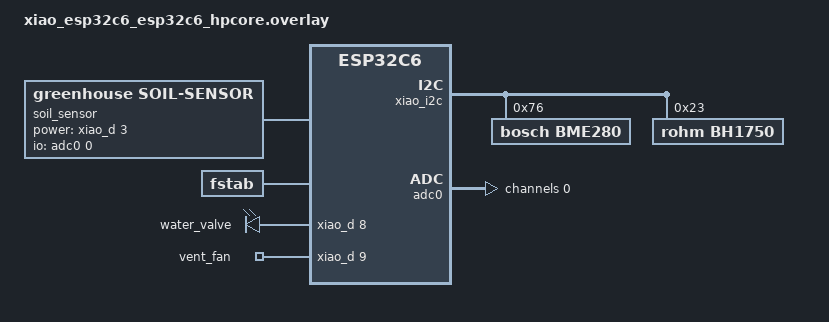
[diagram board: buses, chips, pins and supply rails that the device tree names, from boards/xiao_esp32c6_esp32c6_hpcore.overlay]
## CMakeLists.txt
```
cmake_minimum_required(VERSION 3.20.0)

find_package(Zephyr REQUIRED HINTS $ENV{ZEPHYR_BASE})
project(greenhouse)

target_sources(app PRIVATE
	src/main.c
	src/app_device.c
	src/app_led.c
	src/app_watchdog.c
	src/app_sensor.c
	src/app_control.c
	src/control_logic.c
	src/app_actuator.c
	src/app_backend.c
)

if(CONFIG_APP_SENSOR_SIMULATE)
	target_sources(app PRIVATE src/app_sensor_sim.c)
else()
	target_sources(app PRIVATE src/app_sensor_hw.c)
endif()

target_sources_ifdef(CONFIG_SHELL app PRIVATE src/app_shell.c)
target_sources_ifdef(CONFIG_WIFI app PRIVATE src/app_wifi.c)
if(NOT CONFIG_WIFI)
	target_sources(app PRIVATE src/app_eth.c)
endif()

target_sources_ifdef(CONFIG_BOOTLOADER_MCUBOOT app PRIVATE src/app_update.c)
```

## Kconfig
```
mainmenu "Greenhouse controller"

menu "Greenhouse"

config APP_DEVICE_ID
	string "Default device ID"
	default "0001"

config APP_SENSOR_SIMULATE
	bool "Simulated sensors"

config APP_ACTUATOR_SIMULATE
	bool "Simulated actuators"
	help
	  Actuators only log their state.

config APP_SENSOR_SAMPLE_INTERVAL_S
	int "Sensor sample interval in seconds"
	default 60

config APP_SENSOR_SIM_DAY_S
	int "Length of a simulated day in seconds"
	depends on APP_SENSOR_SIMULATE
	default 600

config APP_SOIL_DRY_MV
	int "Soil sensor output in dry soil (mV)"
	default 2600

config APP_SOIL_WET_MV
	int "Soil sensor output in water (mV)"
	default 1200

config APP_CTRL_VENT_ON_TEMP_DC
	int "Ventilation on above this temperature (0.1 C)"
	default 300

config APP_CTRL_VENT_OFF_TEMP_DC
	int "Ventilation off below this temperature (0.1 C)"
	default 260

config APP_CTRL_VENT_ON_HUM_DPCT
	int "Ventilation on above this air humidity (0.1 %)"
	default 850

config APP_CTRL_VENT_OFF_HUM_DPCT
	int "Ventilation off below this air humidity (0.1 %)"
	default 700

config APP_CTRL_WATER_ON_SOIL_DPCT
	int "Watering on below this soil moisture (0.1 %)"
	default 350

config APP_CTRL_WATER_OFF_SOIL_DPCT
	int "Watering off above this soil moisture (0.1 %)"
	default 550

config APP_CTRL_WATER_MAX_LIGHT_LUX
	int "No new watering above this light level (lux)"
	default 30000

config APP_CTRL_WATER_MAX_RUN_S
	int "Longest watering run in seconds"
	default 120

config APP_CTRL_WATER_MIN_PAUSE_S
	int "Shortest pause between watering runs in seconds"
	default 600

config APP_BACKEND_HOST
	string "InfluxDB host"
	default ""

config APP_BACKEND_PORT
	int "InfluxDB port"
	default 8086

config APP_BACKEND_ORG
	string "InfluxDB organisation"
	default "greenhouse"

config APP_BACKEND_BUCKET
	string "InfluxDB bucket"
	default "greenhouse"

config APP_BACKEND_DEV_TOKEN
	string "Default InfluxDB token, for the local test stack only"
	default ""

config APP_BACKEND_UPLOAD_INTERVAL_S
	int "Upload interval in seconds, 0 uploads every point"
	default 0

config APP_BACKEND_QUEUE_SIZE
	int "Points kept while the network is down"
	default 64

config APP_BACKEND_NTP_SERVER
	string "NTP server"
	default "pool.ntp.org"

config APP_WATCHDOG_STALE_S
	int "A thread is hung after this many seconds without a heartbeat"
	default 120

config APP_LED
	bool "Status LED"
	default y

config APP_UPDATE_CONFIRM_S
	int "Seconds of good health before confirming a new image"
	default 120

module = APP_MAIN
module-str = main
source "subsys/logging/Kconfig.template.log_config"
module = APP_SENSOR
module-str = sensor
source "subsys/logging/Kconfig.template.log_config"
module = APP_CONTROL
module-str = control
source "subsys/logging/Kconfig.template.log_config"
module = APP_ACTUATOR
module-str = actuator
source "subsys/logging/Kconfig.template.log_config"
module = APP_BACKEND
module-str = backend
source "subsys/logging/Kconfig.template.log_config"
module = APP_NET
module-str = network
source "subsys/logging/Kconfig.template.log_config"
module = APP_WATCHDOG
module-str = watchdog
source "subsys/logging/Kconfig.template.log_config"
module = APP_UPDATE
module-str = update
source "subsys/logging/Kconfig.template.log_config"

endmenu

source "Kconfig.zephyr"
```

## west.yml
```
manifest:
  remotes:
    - name: zephyrproject-rtos
      url-base: https://github.com/zephyrproject-rtos
  projects:
    - name: zephyr
      remote: zephyrproject-rtos
      revision: v4.4.2
      import:
        name-allowlist:
          - cmsis
          - cmsis_6
          - hal_espressif
          - littlefs
          - mbedtls
          - mcuboot
          - zcbor
```

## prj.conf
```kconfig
CONFIG_ZBUS=y
CONFIG_ZBUS_MSG_SUBSCRIBER=y
CONFIG_SHELL=y
CONFIG_GPIO=y
CONFIG_REBOOT=y
CONFIG_WATCHDOG=y
CONFIG_HWINFO=y
CONFIG_SETTINGS=y

CONFIG_LOG=y
CONFIG_LOG_MODE_DEFERRED=y
CONFIG_LOG_RUNTIME_FILTERING=y
CONFIG_LOG_CMDS=y

CONFIG_NETWORKING=y
CONFIG_NET_IPV4=y
CONFIG_NET_IPV6=n
CONFIG_NET_TCP=y
CONFIG_NET_UDP=y
CONFIG_NET_SOCKETS=y
CONFIG_NET_DHCPV4=y
CONFIG_NET_MGMT=y
CONFIG_NET_MGMT_EVENT=y
CONFIG_NET_LOG=y
CONFIG_DNS_RESOLVER=y
CONFIG_HTTP_CLIENT=y
CONFIG_SNTP=y
CONFIG_POSIX_API=y

CONFIG_MAIN_STACK_SIZE=2048
CONFIG_SYSTEM_WORKQUEUE_STACK_SIZE=2048
CONFIG_HEAP_MEM_POOL_SIZE=8192
```

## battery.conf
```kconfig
CONFIG_PM=y
CONFIG_PM_DEVICE=y

CONFIG_APP_SENSOR_SAMPLE_INTERVAL_S=300
CONFIG_APP_BACKEND_UPLOAD_INTERVAL_S=1800
CONFIG_LOG_PROCESS_THREAD_SLEEP_MS=30000
CONFIG_APP_LED=n

# provision with the normal build first
CONFIG_SHELL=n
CONFIG_LOG_CMDS=n
CONFIG_NET_L2_WIFI_SHELL=n
CONFIG_WIFI_CREDENTIALS_SHELL=n
CONFIG_FILE_SYSTEM_SHELL=n
CONFIG_DEBUG_COREDUMP_SHELL=n
CONFIG_CONSOLE=n
CONFIG_UART_CONSOLE=n
```

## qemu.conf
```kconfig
CONFIG_APP_SENSOR_SIMULATE=y
CONFIG_APP_ACTUATOR_SIMULATE=y
CONFIG_SENSOR=n

CONFIG_SETTINGS_NONE=y

CONFIG_NET_L2_ETHERNET=y
CONFIG_NET_QEMU_USER=y
CONFIG_NET_MAX_CONTEXTS=8

CONFIG_TEST_RANDOM_GENERATOR=y
CONFIG_TIMER_RANDOM_GENERATOR=y
CONFIG_ENTROPY_GENERATOR=n

# the host, seen from QEMU user networking
CONFIG_APP_BACKEND_HOST="10.0.2.2"
CONFIG_APP_BACKEND_DEV_TOKEN="greenhouse-local-dev-token"
CONFIG_APP_SENSOR_SAMPLE_INTERVAL_S=5
```

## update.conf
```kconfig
CONFIG_MCUMGR=y
CONFIG_MCUMGR_GRP_IMG=y
CONFIG_MCUMGR_GRP_OS=y
CONFIG_MCUMGR_TRANSPORT_UDP=y
CONFIG_MCUMGR_TRANSPORT_UDP_IPV4=y
CONFIG_ZCBOR=y
CONFIG_CRC=y
CONFIG_STREAM_FLASH=y
CONFIG_IMG_MANAGER=y
CONFIG_FLASH_MAP=y
CONFIG_NET_BUF=y
```

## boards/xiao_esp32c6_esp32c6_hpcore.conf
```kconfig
CONFIG_SENSOR=y
CONFIG_BME280=y
CONFIG_BME280_MODE_FORCED=y
CONFIG_BH1750=y
CONFIG_I2C=y
CONFIG_ADC=y

CONFIG_WIFI=y
CONFIG_NET_L2_WIFI_MGMT=y
CONFIG_NET_L2_WIFI_SHELL=y
CONFIG_WIFI_CREDENTIALS=y
CONFIG_WIFI_CREDENTIALS_BACKEND_SETTINGS=y
CONFIG_WIFI_CREDENTIALS_SHELL=y
CONFIG_FLASH=y
CONFIG_FLASH_MAP=y
CONFIG_NVS=y
CONFIG_SETTINGS_NVS=y

CONFIG_FILE_SYSTEM=y
CONFIG_FILE_SYSTEM_LITTLEFS=y
CONFIG_FILE_SYSTEM_SHELL=y
CONFIG_LOG_BACKEND_FS=y

CONFIG_DEBUG_COREDUMP=y
CONFIG_DEBUG_COREDUMP_BACKEND_FLASH_PARTITION=y
CONFIG_DEBUG_COREDUMP_SHELL=y
```

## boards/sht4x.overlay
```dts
/* Replacement for the BME280: use with -DEXTRA_DTC_OVERLAY_FILE=boards/sht4x.overlay
 * and CONFIG_SHT4X=y. No change to the application.
 */
/delete-node/ &bme280;

/ {
	aliases {
		env-sensor = &sht4x;
	};
};

&xiao_i2c {
	sht4x: sht4x@44 {
		compatible = "sensirion,sht4x";
		reg = <0x44>;
		repeatability = <2>;
	};
};
```

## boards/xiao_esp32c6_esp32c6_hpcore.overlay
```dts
/delete-node/ &storage_partition;

/ {
	aliases {
		env-sensor = &bme280;
		light-sensor = &bh1750;
		soil-sensor = &soil_sensor;
		water-valve = &water_valve;
		vent-fan = &vent_fan;
	};

	soil_sensor: soil-sensor {
		compatible = "greenhouse,soil-sensor";
		io-channels = <&adc0 0>;
		power-gpios = <&xiao_d 3 GPIO_ACTIVE_HIGH>;
	};

	fstab {
		compatible = "zephyr,fstab";

		logs: logs {
			compatible = "zephyr,fstab,littlefs";
			mount-point = "/lfs1";
			partition = <&logs_partition>;
			automount;
			read-size = <16>;
			prog-size = <16>;
			cache-size = <64>;
			lookahead-size = <32>;
			block-cycles = <512>;
		};
	};

	relays {
		compatible = "gpio-leds";

		water_valve: water-valve {
			gpios = <&xiao_d 8 GPIO_ACTIVE_HIGH>;
		};

		vent_fan: vent-fan {
			gpios = <&xiao_d 9 GPIO_ACTIVE_HIGH>;
		};
	};
};

&xiao_i2c {
	bme280: bme280@76 {
		compatible = "bosch,bme280";
		reg = <0x76>;
	};

	bh1750: bh1750@23 {
		compatible = "rohm,bh1750";
		reg = <0x23>;
	};
};

&adc0 {
	status = "okay";
	#address-cells = <1>;
	#size-cells = <0>;

	/* D0 */
	channel@0 {
		reg = <0>;
		zephyr,gain = "ADC_GAIN_1_4";
		zephyr,reference = "ADC_REF_INTERNAL";
		zephyr,acquisition-time = <ADC_ACQ_TIME_DEFAULT>;
		zephyr,resolution = <12>;
	};
};

&flash0 {
	partitions {
		storage_partition: partition@3b0000 {
			label = "storage";
			reg = <0x3b0000 DT_SIZE_K(64)>;
		};

		logs_partition: partition@3c0000 {
			label = "logs";
			reg = <0x3c0000 DT_SIZE_K(128)>;
		};
	};
};
```

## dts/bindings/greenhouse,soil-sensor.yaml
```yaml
description: Analog capacitive soil moisture sensor with switched power

compatible: "greenhouse,soil-sensor"

properties:
  io-channels:
    type: phandle-array
    required: true
  power-gpios:
    type: phandle-array
    required: true
```

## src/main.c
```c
/*
 * Copyright (c) 2026 Technical University of Liberec
 *
 * SPDX-License-Identifier: Apache-2.0
 */

#include "app_actuator.h"
#include "app_backend.h"
#include "app_control.h"
#include "app_led.h"
#include "app_net.h"
#include "app_sensor.h"
#include "app_status.h"
#include "app_update.h"
#include "app_watchdog.h"

#include <app_version.h>
#include <zephyr/drivers/hwinfo.h>
#include <zephyr/kernel.h>
#include <zephyr/logging/log.h>
#include <zephyr/settings/settings.h>
#include <zephyr/sys/atomic.h>
#include <zephyr/zbus/zbus.h>

LOG_MODULE_REGISTER(app_main, CONFIG_APP_MAIN_LOG_LEVEL);

ZBUS_CHAN_DEFINE(app_status_chan, struct app_status_event, NULL, NULL,
		 ZBUS_OBSERVERS_EMPTY, ZBUS_MSG_INIT(0));

static atomic_t status[APP_MODULE_COUNT];

static const char *const module_names[APP_MODULE_COUNT] = {
	[APP_MODULE_SENSOR] = "sensor",
	[APP_MODULE_CONTROL] = "control",
	[APP_MODULE_ACTUATOR] = "actuator",
	[APP_MODULE_NET] = "network",
	[APP_MODULE_BACKEND] = "backend",
	[APP_MODULE_UPDATE] = "update",
	[APP_MODULE_LED] = "led",
	[APP_MODULE_WATCHDOG] = "watchdog",
};

void app_status_set(enum app_module module, enum app_status_value value)
{
	if (atomic_set(&status[module], value) == value) {
		return;
	}

	struct app_status_event ev = {.module = module, .value = value};

	if (value == APP_STATUS_ERROR) {
		LOG_ERR("%s: %s", module_names[module], app_status_value_name(value));
	} else {
		LOG_INF("%s: %s", module_names[module], app_status_value_name(value));
	}
	zbus_chan_pub(&app_status_chan, &ev, K_MSEC(100));
}

enum app_status_value app_status_get(enum app_module module)
{
	return atomic_get(&status[module]);
}

const char *app_status_module_name(enum app_module module)
{
	return module_names[module];
}

const char *app_status_value_name(enum app_status_value value)
{
	switch (value) {
	case APP_STATUS_OK:
		return "ok";
	case APP_STATUS_ERROR:
		return "error";
	default:
		return "debug";
	}
}

bool app_status_all_ok(void)
{
	for (int i = 0; i < APP_MODULE_COUNT; i++) {
		if (atomic_get(&status[i]) == APP_STATUS_ERROR) {
			return false;
		}
	}
	return true;
}

static void log_boot(void)
{
	uint32_t cause = 0;

	LOG_INF("greenhouse %s", APP_VERSION_STRING);
	if (hwinfo_get_reset_cause(&cause) == 0) {
		LOG_INF("reset cause 0x%x", cause);
		hwinfo_clear_reset_cause();
	}
}

static int init_full(void)
{
	int rc;

	log_boot();

	/* the watchdog comes first, so it catches a hang in any later init */
	rc = app_watchdog_init();
	if (rc == 0) {
		rc = settings_subsys_init();
	}
	if (rc == 0) {
		rc = settings_load();
	}
	if (rc == 0) {
		rc = app_led_init();
	}
	/* actuators before anything that could ask them to move */
	if (rc == 0) {
		rc = app_actuator_init();
	}
	if (rc == 0) {
		rc = app_sensor_init();
	}
	if (rc == 0) {
		rc = app_control_init();
	}
	if (rc == 0) {
		rc = app_net_init();
	}
	if (rc == 0) {
		rc = app_backend_init();
	}
#if defined(CONFIG_BOOTLOADER_MCUBOOT)
	if (rc == 0) {
		rc = app_update_init();
	}
#endif
	return rc;
}

int main(void)
{
	int rc = init_full();

	if (rc != 0) {
		/* no threads started: the watchdog resets us if it is running */
		LOG_ERR("init failed: %d", rc);
		return rc;
	}

	app_watchdog_start();
	app_led_start();
	app_actuator_start();
	app_sensor_start();
	app_control_start();
	app_net_start();
	app_backend_start();
#if defined(CONFIG_BOOTLOADER_MCUBOOT)
	app_update_start();
#endif
	return 0;
}
```

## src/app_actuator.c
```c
/*
 * Copyright (c) 2026 Technical University of Liberec
 *
 * SPDX-License-Identifier: Apache-2.0
 */

#include "app_actuator.h"
#include "app_config.h"
#include "app_control.h"
#include "app_status.h"
#include "app_watchdog.h"

#include <errno.h>
#include <zephyr/drivers/gpio.h>
#include <zephyr/kernel.h>
#include <zephyr/logging/log.h>
#include <zephyr/zbus/zbus.h>

LOG_MODULE_REGISTER(app_actuator, CONFIG_APP_ACTUATOR_LOG_LEVEL);

#define PULSE_MAX_S 30

ZBUS_CHAN_DEFINE(actuator_state_chan, struct actuator_state, NULL, NULL, ZBUS_OBSERVERS_EMPTY,
		 ZBUS_MSG_INIT(0));

ZBUS_SUBSCRIBER_DEFINE(actuator_sub, 4);
ZBUS_CHAN_ADD_OBS(actuator_cmd_chan, actuator_sub, 1);

#if !defined(CONFIG_APP_ACTUATOR_SIMULATE)
static const struct gpio_dt_spec pins[ACTUATOR_COUNT] = {
	[ACTUATOR_VALVE] = GPIO_DT_SPEC_GET(DT_ALIAS(water_valve), gpios),
	[ACTUATOR_FAN] = GPIO_DT_SPEC_GET(DT_ALIAS(vent_fan), gpios),
};
#endif

static bool is_on[ACTUATOR_COUNT];
static int64_t on_since[ACTUATOR_COUNT];
static K_MUTEX_DEFINE(actuator_lock);

const char *app_actuator_name(enum actuator_id id)
{
	return id == ACTUATOR_VALVE ? "valve" : "fan";
}

static int output_set(enum actuator_id id, bool on)
{
#if defined(CONFIG_APP_ACTUATOR_SIMULATE)
	return 0;
#else
	return gpio_pin_set_dt(&pins[id], on);
#endif
}

static void actuator_set(enum actuator_id id, bool on, enum control_reason reason)
{
	struct actuator_state state = {.id = id, .on = on, .reason = reason};

	k_mutex_lock(&actuator_lock, K_FOREVER);
	if (is_on[id] == on) {
		k_mutex_unlock(&actuator_lock);
		return;
	}
	if (output_set(id, on) != 0) {
		app_status_set(APP_MODULE_ACTUATOR, APP_STATUS_ERROR);
		LOG_ERR("%s: output failed", app_actuator_name(id));
		k_mutex_unlock(&actuator_lock);
		return;
	}
	is_on[id] = on;
	if (on) {
		on_since[id] = k_uptime_get();
	} else {
		state.run_s = (uint32_t)((k_uptime_get() - on_since[id]) / 1000);
	}
	k_mutex_unlock(&actuator_lock);

	LOG_INF("%s %s (%s)", app_actuator_name(id), on ? "on" : "off",
		control_reason_name(reason));
	zbus_chan_pub(&actuator_state_chan, &state, K_MSEC(500));
}

static void pulse_end(struct k_work *work);
static K_WORK_DELAYABLE_DEFINE(pulse_work, pulse_end);
static enum actuator_id pulse_id;

static void pulse_end(struct k_work *work)
{
	actuator_set(pulse_id, false, REASON_MANUAL);
}

int app_actuator_pulse(enum actuator_id id, int seconds)
{
	if (seconds < 1 || seconds > PULSE_MAX_S) {
		return -EINVAL;
	}
	pulse_id = id;
	actuator_set(id, true, REASON_MANUAL);
	k_work_reschedule(&pulse_work, K_SECONDS(seconds));
	return 0;
}

static void actuator_thread(void *a, void *b, void *c)
{
	while (true) {
		const struct zbus_channel *chan;
		struct actuator_cmd cmd;

		if (zbus_sub_wait(&actuator_sub, &chan, K_SECONDS(APP_HEARTBEAT_S)) == 0 &&
		    zbus_chan_read(chan, &cmd, K_MSEC(500)) == 0) {
			actuator_set(ACTUATOR_VALVE, cmd.valve, cmd.valve_reason);
			actuator_set(ACTUATOR_FAN, cmd.fan, cmd.fan_reason);
		}
		app_watchdog_feed(APP_MODULE_ACTUATOR);
	}
}

K_THREAD_DEFINE(actuator_tid, APP_THREAD_STACK_SIZE, actuator_thread, NULL, NULL, NULL,
		APP_THREAD_PRIORITY, 0, SYS_FOREVER_MS);

int app_actuator_init(void)
{
#if !defined(CONFIG_APP_ACTUATOR_SIMULATE)
	for (int i = 0; i < ACTUATOR_COUNT; i++) {
		if (!gpio_is_ready_dt(&pins[i]) ||
		    gpio_pin_configure_dt(&pins[i], GPIO_OUTPUT_INACTIVE) != 0) {
			LOG_ERR("%s: pin not ready", app_actuator_name(i));
			app_status_set(APP_MODULE_ACTUATOR, APP_STATUS_ERROR);
			return 0;
		}
	}
#endif
	app_status_set(APP_MODULE_ACTUATOR, APP_STATUS_OK);
	return 0;
}

void app_actuator_start(void)
{
	k_thread_start(actuator_tid);
}
```

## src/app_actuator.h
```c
/*
 * Copyright (c) 2026 Technical University of Liberec
 *
 * SPDX-License-Identifier: Apache-2.0
 */

#ifndef APP_ACTUATOR_H_
#define APP_ACTUATOR_H_

#include "control_logic.h"
#include <zephyr/zbus/zbus.h>

enum actuator_id {
	ACTUATOR_VALVE,
	ACTUATOR_FAN,
	ACTUATOR_COUNT,
};

struct actuator_state {
	enum actuator_id id;
	bool on;
	enum control_reason reason;
	uint32_t run_s;		/* length of the run that just ended */
};

ZBUS_CHAN_DECLARE(actuator_state_chan);

int app_actuator_init(void);
void app_actuator_start(void);
const char *app_actuator_name(enum actuator_id id);

/* Bring-up test: on for a few seconds, then off again. */
int app_actuator_pulse(enum actuator_id id, int seconds);

#endif /* APP_ACTUATOR_H_ */
```

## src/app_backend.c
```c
/*
 * Copyright (c) 2026 Technical University of Liberec
 *
 * SPDX-License-Identifier: Apache-2.0
 */

#include "app_backend.h"
#include "app_actuator.h"
#include "app_config.h"
#include "app_device.h"
#include "app_sensor.h"
#include "app_status.h"
#include "app_watchdog.h"

#include <errno.h>
#include <stdio.h>
#include <string.h>
#include <zephyr/kernel.h>
#include <zephyr/logging/log.h>
#include <zephyr/net/http/client.h>
#include <zephyr/net/socket.h>
#include <zephyr/net/sntp.h>
#include <zephyr/pm/policy.h>
#include <zephyr/settings/settings.h>
#include <zephyr/zbus/zbus.h>

LOG_MODULE_REGISTER(app_backend, CONFIG_APP_BACKEND_LOG_LEVEL);

#define POINT_LEN 160
#define BODY_LEN 1536
#define HTTP_TIMEOUT_MS 5000
#define NTP_TIMEOUT_MS 3000
#define NTP_RESYNC_MS (24LL * 3600 * 1000)
#define NTP_RETRY_MS (5LL * 60 * 1000)
#define UPLOAD_RETRY_MS (30 * 1000)

ZBUS_MSG_SUBSCRIBER_DEFINE(backend_sub);
ZBUS_CHAN_ADD_OBS(sensor_data_chan, backend_sub, 3);
ZBUS_CHAN_ADD_OBS(actuator_state_chan, backend_sub, 3);

struct point {
	int64_t uptime_ms;
	char line[POINT_LEN];
};

static struct point queue[CONFIG_APP_BACKEND_QUEUE_SIZE];
static int queue_head;
static int queue_count;
static uint32_t dropped;
static K_MUTEX_DEFINE(queue_lock);

static char host[64] = CONFIG_APP_BACKEND_HOST;
static char token[128] = CONFIG_APP_BACKEND_DEV_TOKEN;
static char body[BODY_LEN];
static uint8_t recv_buf[256];
static int http_status;

/* epoch_ms = uptime_ms + offset; 0 means no time yet */
static int64_t epoch_offset_ms;
static int64_t ntp_next_ms;

static int backend_settings_set(const char *name, size_t len, settings_read_cb read_cb, void *arg)
{
	char *dst;
	size_t size;

	if (strcmp(name, "host") == 0) {
		dst = host;
		size = sizeof(host);
	} else if (strcmp(name, "token") == 0) {
		dst = token;
		size = sizeof(token);
	} else {
		return -ENOENT;
	}
	if (len >= size) {
		return -EINVAL;
	}

	int rc = read_cb(arg, dst, len);

	if (rc >= 0) {
		dst[rc] = '\0';
	}
	return MIN(rc, 0);
}

SETTINGS_STATIC_HANDLER_DEFINE(app_backend, "backend", NULL, backend_settings_set, NULL, NULL);

const char *app_backend_host(void)
{
	return host;
}

int app_backend_set_host(const char *new_host)
{
	if (strlen(new_host) >= sizeof(host)) {
		return -EINVAL;
	}
	strcpy(host, new_host);
	return settings_save_one("backend/host", host, strlen(host));
}

int app_backend_set_token(const char *new_token)
{
	if (strlen(new_token) >= sizeof(token)) {
		return -EINVAL;
	}
	strcpy(token, new_token);
	return settings_save_one("backend/token", token, strlen(token));
}

int app_backend_queued(void)
{
	return queue_count;
}

uint32_t app_backend_dropped(void)
{
	return dropped;
}

static void queue_push(const char *line)
{
	k_mutex_lock(&queue_lock, K_FOREVER);
	if (queue_count == ARRAY_SIZE(queue)) {
		queue_head = (queue_head + 1) % ARRAY_SIZE(queue);
		queue_count--;
		dropped++;
		LOG_WRN_RATELIMIT("queue full, dropped %u", dropped);
	}

	struct point *p = &queue[(queue_head + queue_count) % ARRAY_SIZE(queue)];

	p->uptime_ms = k_uptime_get();
	strncpy(p->line, line, sizeof(p->line) - 1);
	p->line[sizeof(p->line) - 1] = '\0';
	queue_count++;
	k_mutex_unlock(&queue_lock);
}

static int put_tenths(char *buf, size_t size, const char *name, int value)
{
	const char *sign = value < 0 ? "-" : "";
	int abs_value = value < 0 ? -value : value;

	return snprintk(buf, size, "%s=%s%d.%d,", name, sign, abs_value / 10, abs_value % 10);
}

static void queue_sensor(const struct sensor_data *d)
{
	char line[POINT_LEN];
	int n = snprintk(line, sizeof(line), "environment,device_id=%s ", app_device_id());
	int start = n;

	if (d->valid & SENSOR_VALID_TEMP) {
		n += put_tenths(line + n, sizeof(line) - n, "temperature_c", d->temp_dc);
	}
	if (d->valid & SENSOR_VALID_HUM) {
		n += put_tenths(line + n, sizeof(line) - n, "humidity_pct", d->humidity_dpct);
	}
	if (d->valid & SENSOR_VALID_LIGHT) {
		n += snprintk(line + n, sizeof(line) - n, "light_lux=%di,", d->light_lux);
	}
	if (d->valid & SENSOR_VALID_SOIL) {
		n += put_tenths(line + n, sizeof(line) - n, "soil_moisture_pct", d->soil_dpct);
	}
	if (n == start) {
		return;
	}
	line[n - 1] = '\0';	/* trailing comma */
	queue_push(line);
}

static void queue_actuator(const struct actuator_state *s)
{
	char line[POINT_LEN];

	snprintk(line, sizeof(line),
		 "actuator_event,device_id=%s,actuator=%s state=%di,reason=\"%s\",run_s=%ui",
		 app_device_id(), app_actuator_name(s->id), s->on ? 1 : 0,
		 control_reason_name(s->reason), s->run_s);
	queue_push(line);
}

static void sync_time(void)
{
	struct sntp_time ts;

	if (k_uptime_get() < ntp_next_ms) {
		return;
	}

	int rc = sntp_simple(CONFIG_APP_BACKEND_NTP_SERVER, NTP_TIMEOUT_MS, &ts);

	if (rc == 0) {
		epoch_offset_ms = (int64_t)ts.seconds * 1000 - k_uptime_get();
		ntp_next_ms = k_uptime_get() + NTP_RESYNC_MS;
		LOG_INF("time synced");
	} else {
		LOG_WRN_RATELIMIT("no NTP: %d", rc);
		ntp_next_ms = k_uptime_get() + NTP_RETRY_MS;
	}
}

static int response_cb(struct http_response *rsp, enum http_final_call final, void *user_data)
{
	if (final == HTTP_DATA_FINAL) {
		http_status = rsp->http_status_code;
	}
	return 0;
}

static int connect_backend(void)
{
	char port[8];
	struct zsock_addrinfo hints = {.ai_family = AF_INET, .ai_socktype = SOCK_STREAM};
	struct zsock_addrinfo *res;

	snprintk(port, sizeof(port), "%d", CONFIG_APP_BACKEND_PORT);
	int rc = zsock_getaddrinfo(host, port, &hints, &res);

	if (rc != 0) {
		LOG_ERR_RATELIMIT("cannot resolve %s: %d", host, rc);
		return -EHOSTUNREACH;
	}

	int sock = zsock_socket(res->ai_family, res->ai_socktype, res->ai_protocol);

	if (sock >= 0 && zsock_connect(sock, res->ai_addr, res->ai_addrlen) != 0) {
		zsock_close(sock);
		sock = -errno;
	}
	zsock_freeaddrinfo(res);
	return sock;
}

static int post(int length)
{
	static char auth[sizeof(token) + 32];
	static const char url[] = "/api/v2/write?org=" CONFIG_APP_BACKEND_ORG
				  "&bucket=" CONFIG_APP_BACKEND_BUCKET "&precision=s";
	const char *headers[] = {auth, "Content-Type: text/plain\r\n", NULL};
	char port[8];
	struct http_request req = {
		.method = HTTP_POST,
		.url = url,
		.protocol = "HTTP/1.1",
		.host = host,
		.port = port,
		.header_fields = headers,
		.payload = body,
		.payload_len = length,
		.response = response_cb,
		.recv_buf = recv_buf,
		.recv_buf_len = sizeof(recv_buf),
	};

	snprintk(port, sizeof(port), "%d", CONFIG_APP_BACKEND_PORT);
	snprintk(auth, sizeof(auth), "Authorization: Token %s\r\n", token);

	int sock = connect_backend();

	if (sock < 0) {
		return sock;
	}

	http_status = 0;
	int rc = http_client_req(sock, &req, HTTP_TIMEOUT_MS, NULL);

	zsock_close(sock);
	if (rc < 0) {
		return rc;
	}
	return http_status >= 200 && http_status < 300 ? 0 : -EBADMSG;
}

/*
 * Without a clock, InfluxDB stamps points on receipt, so points of one series
 * sent together would overwrite each other. Send them one at a time then.
 */
static int build_body(int *points)
{
	int len = 0;
	int count = 0;

	k_mutex_lock(&queue_lock, K_FOREVER);
	while (count < queue_count) {
		const struct point *p = &queue[(queue_head + count) % ARRAY_SIZE(queue)];
		char stamp[24] = "";

		if (epoch_offset_ms != 0) {
			snprintk(stamp, sizeof(stamp), " %lld",
				 (p->uptime_ms + epoch_offset_ms) / 1000);
		}

		int n = snprintk(body + len, sizeof(body) - len, "%s%s\n", p->line, stamp);

		if (n >= (int)sizeof(body) - len) {
			break;
		}
		len += n;
		count++;
		if (epoch_offset_ms == 0) {
			break;
		}
	}
	k_mutex_unlock(&queue_lock);

	*points = count;
	return len;
}

static void queue_drop(int points)
{
	k_mutex_lock(&queue_lock, K_FOREVER);
	queue_head = (queue_head + points) % ARRAY_SIZE(queue);
	queue_count -= points;
	k_mutex_unlock(&queue_lock);
}

/* Returns true if everything queued was delivered. */
static bool upload_all(void)
{
	bool ok = true;

	pm_policy_state_lock_get(PM_STATE_STANDBY, PM_ALL_SUBSTATES);
	sync_time();

	while (queue_count > 0) {
		int points;
		int length = build_body(&points);
		int rc = points > 0 ? post(length) : -EMSGSIZE;

		app_watchdog_feed(APP_MODULE_BACKEND);
		if (rc != 0) {
			LOG_ERR_RATELIMIT("upload failed: %d, HTTP %d", rc, http_status);
			app_status_set(APP_MODULE_BACKEND, APP_STATUS_ERROR);
			ok = false;
			break;
		}
		LOG_DBG("uploaded %d points", points);
		queue_drop(points);
		app_status_set(APP_MODULE_BACKEND, APP_STATUS_OK);
	}

	pm_policy_state_lock_put(PM_STATE_STANDBY, PM_ALL_SUBSTATES);
	return ok;
}

static void backend_thread(void *a, void *b, void *c)
{
	int64_t next_upload = 0;

	while (true) {
		const struct zbus_channel *chan;
		union {
			struct sensor_data sensor;
			struct actuator_state actuator;
		} msg;

		if (zbus_sub_wait_msg(&backend_sub, &chan, &msg, K_SECONDS(APP_HEARTBEAT_S)) == 0) {
			if (chan == &sensor_data_chan) {
				queue_sensor(&msg.sensor);
			} else if (chan == &actuator_state_chan) {
				queue_actuator(&msg.actuator);
			}
		}
		app_watchdog_feed(APP_MODULE_BACKEND);

		if (host[0] == '\0' || token[0] == '\0') {
			app_status_set(APP_MODULE_BACKEND, APP_STATUS_DEBUG);
			continue;
		}
		if (app_status_get(APP_MODULE_NET) != APP_STATUS_OK || queue_count == 0 ||
		    k_uptime_get() < next_upload) {
			continue;
		}

		next_upload = k_uptime_get() + (upload_all() ? CONFIG_APP_BACKEND_UPLOAD_INTERVAL_S * 1000
							     : UPLOAD_RETRY_MS);
	}
}

K_THREAD_DEFINE(backend_tid, APP_BACKEND_STACK_SIZE, backend_thread, NULL, NULL, NULL,
		APP_THREAD_PRIORITY + 1, 0, SYS_FOREVER_MS);

int app_backend_init(void)
{
	return 0;
}

void app_backend_start(void)
{
	k_thread_start(backend_tid);
}
```

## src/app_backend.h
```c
/*
 * Copyright (c) 2026 Technical University of Liberec
 *
 * SPDX-License-Identifier: Apache-2.0
 */

#ifndef APP_BACKEND_H_
#define APP_BACKEND_H_

#include <stdint.h>

int app_backend_init(void);
void app_backend_start(void);
const char *app_backend_host(void);
int app_backend_set_host(const char *host);
int app_backend_set_token(const char *token);
int app_backend_queued(void);
uint32_t app_backend_dropped(void);

#endif /* APP_BACKEND_H_ */
```

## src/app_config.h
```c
/*
 * Copyright (c) 2026 Technical University of Liberec
 *
 * SPDX-License-Identifier: Apache-2.0
 */

#ifndef APP_CONFIG_H_
#define APP_CONFIG_H_

#define APP_THREAD_STACK_SIZE 1536
#define APP_NET_STACK_SIZE 3072
#define APP_BACKEND_STACK_SIZE 4096
#define APP_THREAD_PRIORITY 7

/* no thread may block longer than this, see app_watchdog */
#define APP_HEARTBEAT_S 30

#endif /* APP_CONFIG_H_ */
```

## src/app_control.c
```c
/*
 * Copyright (c) 2026 Technical University of Liberec
 *
 * SPDX-License-Identifier: Apache-2.0
 */

#include "app_control.h"
#include "app_config.h"
#include "app_status.h"
#include "app_watchdog.h"

#include <errno.h>
#include <string.h>
#include <zephyr/kernel.h>
#include <zephyr/logging/log.h>
#include <zephyr/settings/settings.h>
#include <zephyr/zbus/zbus.h>

LOG_MODULE_REGISTER(app_control, CONFIG_APP_CONTROL_LOG_LEVEL);

ZBUS_CHAN_DEFINE(actuator_cmd_chan, struct actuator_cmd, NULL, NULL, ZBUS_OBSERVERS_EMPTY,
		 ZBUS_MSG_INIT(0));

ZBUS_SUBSCRIBER_DEFINE(control_sub, 4);
ZBUS_CHAN_ADD_OBS(sensor_data_chan, control_sub, 2);

static struct control_cfg cfg = {
	.vent_on_temp_dc = CONFIG_APP_CTRL_VENT_ON_TEMP_DC,
	.vent_off_temp_dc = CONFIG_APP_CTRL_VENT_OFF_TEMP_DC,
	.vent_on_hum_dpct = CONFIG_APP_CTRL_VENT_ON_HUM_DPCT,
	.vent_off_hum_dpct = CONFIG_APP_CTRL_VENT_OFF_HUM_DPCT,
	.water_on_soil_dpct = CONFIG_APP_CTRL_WATER_ON_SOIL_DPCT,
	.water_off_soil_dpct = CONFIG_APP_CTRL_WATER_OFF_SOIL_DPCT,
	.water_max_light_lux = CONFIG_APP_CTRL_WATER_MAX_LIGHT_LUX,
	.water_max_run_s = CONFIG_APP_CTRL_WATER_MAX_RUN_S,
	.water_min_pause_s = CONFIG_APP_CTRL_WATER_MIN_PAUSE_S,
};

#define FIELD(n) {#n, offsetof(struct control_cfg, n)}
static const struct {
	const char *name;
	size_t offset;
} fields[] = {
	FIELD(vent_on_temp_dc),    FIELD(vent_off_temp_dc),  FIELD(vent_on_hum_dpct),
	FIELD(vent_off_hum_dpct),  FIELD(water_on_soil_dpct), FIELD(water_off_soil_dpct),
	FIELD(water_max_light_lux), FIELD(water_max_run_s),   FIELD(water_min_pause_s),
};

const struct control_cfg *app_control_cfg(void)
{
	return &cfg;
}

int app_control_set(const char *name, int value)
{
	for (size_t i = 0; i < ARRAY_SIZE(fields); i++) {
		if (strcmp(fields[i].name, name) == 0) {
			*(int *)((char *)&cfg + fields[i].offset) = value;
			return settings_save_one("control/cfg", &cfg, sizeof(cfg));
		}
	}
	return -ENOENT;
}

static int control_settings_set(const char *name, size_t len, settings_read_cb read_cb, void *arg)
{
	if (strcmp(name, "cfg") != 0 || len != sizeof(cfg)) {
		return -ENOENT;
	}
	return MIN(read_cb(arg, &cfg, sizeof(cfg)), 0);
}

SETTINGS_STATIC_HANDLER_DEFINE(app_control, "control", NULL, control_settings_set, NULL, NULL);

static void publish_if_changed(const struct control_state *st)
{
	static struct actuator_cmd last;
	static bool published;

	if (published && last.valve == st->valve && last.fan == st->fan) {
		return;
	}

	last = (struct actuator_cmd){
		.valve = st->valve,
		.fan = st->fan,
		.valve_reason = st->valve_reason,
		.fan_reason = st->fan_reason,
	};
	published = zbus_chan_pub(&actuator_cmd_chan, &last, K_MSEC(500)) == 0;
	if (!published) {
		LOG_ERR("command not delivered");
	}
}

static void control_thread(void *a, void *b, void *c)
{
	struct control_state st = {0};
	struct sensor_data data;
	bool have_data = false;

	app_status_set(APP_MODULE_CONTROL, APP_STATUS_OK);

	while (true) {
		const struct zbus_channel *chan;
		/* while watering, wake up often enough to enforce the longest run */
		k_timeout_t wait = st.valve ? K_SECONDS(1) : K_SECONDS(APP_HEARTBEAT_S);

		if (zbus_sub_wait(&control_sub, &chan, wait) == 0 &&
		    zbus_chan_read(chan, &data, K_MSEC(500)) == 0) {
			have_data = true;
		}
		if (have_data) {
			control_eval(&cfg, &st, &data, k_uptime_get());
			publish_if_changed(&st);
		}
		app_watchdog_feed(APP_MODULE_CONTROL);
	}
}

K_THREAD_DEFINE(control_tid, APP_THREAD_STACK_SIZE, control_thread, NULL, NULL, NULL,
		APP_THREAD_PRIORITY, 0, SYS_FOREVER_MS);

int app_control_init(void)
{
	return 0;
}

void app_control_start(void)
{
	k_thread_start(control_tid);
}
```

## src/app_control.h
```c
/*
 * Copyright (c) 2026 Technical University of Liberec
 *
 * SPDX-License-Identifier: Apache-2.0
 */

#ifndef APP_CONTROL_H_
#define APP_CONTROL_H_

#include "control_logic.h"
#include <zephyr/zbus/zbus.h>

struct actuator_cmd {
	bool valve;
	bool fan;
	enum control_reason valve_reason;
	enum control_reason fan_reason;
};

ZBUS_CHAN_DECLARE(actuator_cmd_chan);

int app_control_init(void);
void app_control_start(void);
const struct control_cfg *app_control_cfg(void);
int app_control_set(const char *name, int value);

#endif /* APP_CONTROL_H_ */
```

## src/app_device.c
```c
/*
 * Copyright (c) 2026 Technical University of Liberec
 *
 * SPDX-License-Identifier: Apache-2.0
 */

#include "app_device.h"

#include <errno.h>
#include <string.h>
#include <zephyr/settings/settings.h>
#include <zephyr/sys/util.h>

static char device_id[17] = CONFIG_APP_DEVICE_ID;

static int device_set(const char *name, size_t len, settings_read_cb read_cb, void *cb_arg)
{
	if (strcmp(name, "id") != 0 || len >= sizeof(device_id)) {
		return -ENOENT;
	}

	int rc = read_cb(cb_arg, device_id, len);

	if (rc >= 0) {
		device_id[rc] = '\0';
	}
	return rc < 0 ? rc : 0;
}

SETTINGS_STATIC_HANDLER_DEFINE(app_device, "device", NULL, device_set, NULL, NULL);

const char *app_device_id(void)
{
	return device_id;
}

int app_device_set_id(const char *id)
{
	size_t len = strlen(id);

	if (len == 0 || len >= sizeof(device_id)) {
		return -EINVAL;
	}

	strcpy(device_id, id);
	return settings_save_one("device/id", id, len);
}
```

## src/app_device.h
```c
/*
 * Copyright (c) 2026 Technical University of Liberec
 *
 * SPDX-License-Identifier: Apache-2.0
 */

#ifndef APP_DEVICE_H_
#define APP_DEVICE_H_

const char *app_device_id(void);
int app_device_set_id(const char *id);

#endif /* APP_DEVICE_H_ */
```

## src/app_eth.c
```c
/*
 * Copyright (c) 2026 Technical University of Liberec
 *
 * SPDX-License-Identifier: Apache-2.0
 */

#include "app_config.h"
#include "app_net.h"
#include "app_status.h"
#include "app_watchdog.h"

#include <zephyr/kernel.h>
#include <zephyr/logging/log.h>
#include <zephyr/net/net_if.h>
#include <zephyr/net/dhcpv4.h>
#include <zephyr/net/net_mgmt.h>

LOG_MODULE_REGISTER(app_net, CONFIG_APP_NET_LOG_LEVEL);

static struct net_mgmt_event_callback mgmt_cb;

static void net_event(struct net_mgmt_event_callback *cb, uint64_t event, struct net_if *iface)
{
	if (event == NET_EVENT_IPV4_ADDR_ADD) {
		app_status_set(APP_MODULE_NET, APP_STATUS_OK);
	} else if (event == NET_EVENT_IPV4_ADDR_DEL) {
		app_status_set(APP_MODULE_NET, APP_STATUS_ERROR);
	}
}

static void net_thread(void *a, void *b, void *c)
{
	net_dhcpv4_start(net_if_get_default());

	while (true) {
		app_watchdog_feed(APP_MODULE_NET);
		k_sleep(K_SECONDS(APP_HEARTBEAT_S));
	}
}

K_THREAD_DEFINE(net_tid, APP_THREAD_STACK_SIZE, net_thread, NULL, NULL, NULL,
		APP_THREAD_PRIORITY, 0, SYS_FOREVER_MS);

int app_net_init(void)
{
	net_mgmt_init_event_callback(&mgmt_cb, net_event,
				     NET_EVENT_IPV4_ADDR_ADD | NET_EVENT_IPV4_ADDR_DEL);
	net_mgmt_add_event_callback(&mgmt_cb);
	return 0;
}

void app_net_start(void)
{
	k_thread_start(net_tid);
}
```

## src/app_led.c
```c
/*
 * Copyright (c) 2026 Technical University of Liberec
 *
 * SPDX-License-Identifier: Apache-2.0
 */

#include "app_led.h"
#include "app_config.h"
#include "app_status.h"
#include "app_watchdog.h"

#include <zephyr/drivers/gpio.h>
#include <zephyr/kernel.h>
#include <zephyr/sys/atomic.h>

#define LED_NODE DT_ALIAS(led0)
#define HAS_LED (IS_ENABLED(CONFIG_APP_LED) && DT_NODE_HAS_STATUS_OKAY(LED_NODE))

#if HAS_LED
#define BLINK_OK_MS 2000
#define BLINK_ERROR_MS 200

static const struct gpio_dt_spec led = GPIO_DT_SPEC_GET(LED_NODE, gpios);
static atomic_t blink_ms = ATOMIC_INIT(BLINK_OK_MS);

static void status_cb(const struct zbus_channel *chan)
{
	atomic_set(&blink_ms, app_status_all_ok() ? BLINK_OK_MS : BLINK_ERROR_MS);
}

ZBUS_LISTENER_DEFINE(led_listener, status_cb);
ZBUS_CHAN_ADD_OBS(app_status_chan, led_listener, 1);

static void led_thread(void *a, void *b, void *c)
{
	while (true) {
		gpio_pin_toggle_dt(&led);
		app_watchdog_feed(APP_MODULE_LED);
		k_msleep(atomic_get(&blink_ms));
	}
}

K_THREAD_DEFINE(led_tid, 768, led_thread, NULL, NULL, NULL, APP_THREAD_PRIORITY + 2, 0,
		SYS_FOREVER_MS);

int app_led_init(void)
{
	if (!gpio_is_ready_dt(&led)) {
		app_status_set(APP_MODULE_LED, APP_STATUS_ERROR);
		return 0;
	}
	gpio_pin_configure_dt(&led, GPIO_OUTPUT_INACTIVE);
	app_status_set(APP_MODULE_LED, APP_STATUS_OK);
	return 0;
}

void app_led_start(void)
{
	k_thread_start(led_tid);
}
#else
int app_led_init(void)
{
	return 0;
}

void app_led_start(void)
{
}
#endif
```

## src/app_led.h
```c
/*
 * Copyright (c) 2026 Technical University of Liberec
 *
 * SPDX-License-Identifier: Apache-2.0
 */

#ifndef APP_LED_H_
#define APP_LED_H_

int app_led_init(void);
void app_led_start(void);

#endif /* APP_LED_H_ */
```
